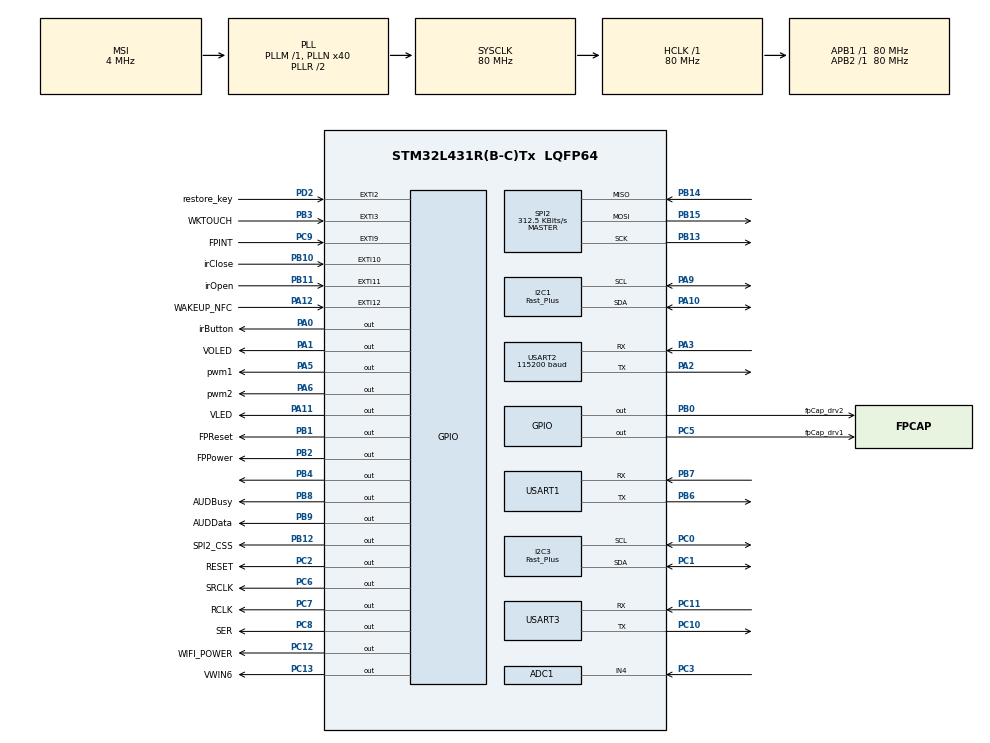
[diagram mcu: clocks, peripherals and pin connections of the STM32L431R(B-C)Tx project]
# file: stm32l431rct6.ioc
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ADC1.Channel-0\#ChannelRegularConversion=ADC_CHANNEL_4
ADC1.ClockPrescaler=ADC_CLOCK_ASYNC_DIV1
ADC1.ContinuousConvMode=DISABLE
ADC1.DMAContinuousRequests=DISABLE
ADC1.DataAlign=ADC_DATAALIGN_RIGHT
ADC1.DiscontinuousConvMode=DISABLE
ADC1.EOCSelection=ADC_EOC_SINGLE_CONV
ADC1.EnableAnalogWatchDog1=false
ADC1.EnableAnalogWatchDog2=false
ADC1.EnableAnalogWatchDog3=false
ADC1.EnableInjectedConversion=DISABLE
ADC1.EnableRegularConversion=ENABLE
ADC1.ExternalTrigConv=ADC_SOFTWARE_START
ADC1.ExternalTrigConvEdge=ADC_EXTERNALTRIGCONVEDGE_NONE
ADC1.LowPowerAutoWait=DISABLE
ADC1.NbrOfConversion=1
ADC1.NbrOfConversionFlag=1
ADC1.OffsetNumber-0\#ChannelRegularConversion=ADC_OFFSET_NONE
ADC1.Overrun=ADC_OVR_DATA_PRESERVED
ADC1.OversamplingMode=DISABLE
ADC1.Rank-0\#ChannelRegularConversion=1
ADC1.Resolution=ADC_RESOLUTION_12B
ADC1.SamplingTime-0\#ChannelRegularConversion=ADC_SAMPLETIME_2CYCLES_5
ADC1.ScanConvMode=ADC_SCAN_DISABLE
ADC1.master=1
I2C1.I2C_Speed_Mode=I2C_Fast_Plus
I2C1.Timing=0x00300F33
I2C3.I2C_Speed_Mode=I2C_Fast_Plus
I2C3.Timing=0x00300F33
IWDG.Prescaler=IWDG_PRESCALER_256
IWDG.Reload=1000
Mcu.Family=STM32L4
Mcu.Name=STM32L431R(B-C)Tx
Mcu.Package=LQFP64
NVIC.EXTI15_10_IRQn=true\:1\:0\:true\:false\:true\:true
NVIC.EXTI2_IRQn=true\:2\:0\:true\:false\:true\:true
NVIC.EXTI3_IRQn=true\:2\:0\:true\:false\:true\:true
NVIC.EXTI9_5_IRQn=true\:2\:0\:true\:false\:true\:true
NVIC.PriorityGroup=NVIC_PRIORITYGROUP_4
NVIC.TIM2_IRQn=true\:1\:0\:true\:false\:true\:true
NVIC.TIM6_DAC_IRQn=true\:0\:0\:true\:false\:true\:true
NVIC.TIM7_IRQn=true\:0\:0\:false\:false\:true\:true
NVIC.USART2_IRQn=true\:1\:0\:true\:false\:true\:true
NVIC.USART3_IRQn=true\:1\:0\:true\:false\:true\:true
PA0.GPIO_Label=irButton
PA0.GPIO_PuPd=GPIO_PULLDOWN
PA0.Signal=GPIO_Output
PA1.GPIO_Label=VOLED
PA1.GPIO_PuPd=GPIO_PULLDOWN
PA1.PinState=GPIO_PIN_RESET
PA1.Signal=GPIO_Output
PA10.Mode=I2C
PA10.Signal=I2C1_SDA
PA11.GPIO_Label=VLED
PA11.GPIO_PuPd=GPIO_PULLDOWN
PA11.Signal=GPIO_Output
PA12.GPIO_Label=WAKEUP_NFC
PA12.GPIO_PuPd=GPIO_PULLDOWN
PA12.Signal=GPXTI12
PA13\ (JTMS-SWDIO).Mode=Serial_Wire
PA13\ (JTMS-SWDIO).Signal=SYS_JTMS-SWDIO
PA14\ (JTCK-SWCLK).Mode=Serial_Wire
PA14\ (JTCK-SWCLK).Signal=SYS_JTCK-SWCLK
PA2.GPIO_PuPd=GPIO_PULLDOWN
PA2.Mode=Asynchronous
PA2.Signal=USART2_TX
PA3.GPIO_PuPd=GPIO_PULLDOWN
PA3.Mode=Asynchronous
PA3.Signal=USART2_RX
PA5.GPIO_Label=pwm1
PA5.GPIO_PuPd=GPIO_PULLDOWN
PA5.Signal=GPIO_Output
PA6.GPIO_Label=pwm2
PA6.GPIO_PuPd=GPIO_PULLDOWN
PA6.Signal=GPIO_Output
PA9.Mode=I2C
PA9.Signal=I2C1_SCL
PB0.GPIO_Label=fpCap_drv2
PB0.GPIO_PuPd=GPIO_PULLDOWN
PB0.Signal=GPIO_Output
PB1.GPIO_Label=FPReset
PB1.GPIO_PuPd=GPIO_PULLDOWN
PB1.Signal=GPIO_Output
PB10.GPIO_Label=irClose
PB10.GPIO_ModeDefaultEXTI=GPIO_MODE_IT_RISING
PB10.GPIO_PuPd=GPIO_PULLUP
PB10.Signal=GPXTI10
PB11.GPIO_Label=irOpen
PB11.GPIO_ModeDefaultEXTI=GPIO_MODE_IT_RISING
PB11.GPIO_PuPd=GPIO_PULLUP
PB11.Signal=GPXTI11
PB12.GPIO_Label=SPI2_CSS
PB12.PinState=GPIO_PIN_SET
PB12.Signal=GPIO_Output
PB13.Mode=Full_Duplex_Master
PB13.Signal=SPI2_SCK
PB14.Mode=Full_Duplex_Master
PB14.Signal=SPI2_MISO
PB15.Mode=Full_Duplex_Master
PB15.Signal=SPI2_MOSI
PB2.GPIO_Label=FPPower
PB2.GPIO_PuPd=GPIO_PULLDOWN
PB2.Signal=GPIO_Output
PB3\ (JTDO-TRACESWO).GPIO_Label=WKTOUCH
PB3\ (JTDO-TRACESWO).GPIO_ModeDefaultEXTI=GPIO_MODE_IT_FALLING
PB3\ (JTDO-TRACESWO).Signal=GPXTI3
PB4\ (NJTRST).Signal=GPIO_Output
PB6.GPIO_PuPd=GPIO_NOPULL
PB6.Mode=Asynchronous
PB6.Signal=USART1_TX
PB7.GPIO_PuPd=GPIO_PULLUP
PB7.Mode=Asynchronous
PB7.Signal=USART1_RX
PB8.GPIO_Label=AUDBusy
PB8.Signal=GPIO_Output
PB9.GPIO_Label=AUDData
PB9.Signal=GPIO_Output
PC0.Mode=I2C
PC0.Signal=I2C3_SCL
PC1.Mode=I2C
PC1.Signal=I2C3_SDA
PC10.GPIO_PuPd=GPIO_PULLDOWN
PC10.Mode=Asynchronous
PC10.Signal=USART3_TX
PC11.GPIO_PuPd=GPIO_PULLDOWN
PC11.Mode=Asynchronous
PC11.Signal=USART3_RX
PC12.GPIO_Label=WIFI_POWER
PC12.GPIO_PuPd=GPIO_PULLDOWN
PC12.GPIO_Speed=GPIO_SPEED_FREQ_LOW
PC12.PinState=GPIO_PIN_RESET
PC12.Signal=GPIO_Output
PC13.GPIO_Label=VWIN6
PC13.GPIO_PuPd=GPIO_PULLDOWN
PC13.Signal=GPIO_Output
PC14-OSC32_IN\ (PC14).Mode=LSE-External-Oscillator
PC14-OSC32_IN\ (PC14).Signal=RCC_OSC32_IN
PC15-OSC32_OUT\ (PC15).Mode=LSE-External-Oscillator
PC15-OSC32_OUT\ (PC15).Signal=RCC_OSC32_OUT
PC2.GPIO_Label=RESET
PC2.GPIO_Speed=GPIO_SPEED_FREQ_LOW
PC2.Signal=GPIO_Output
PC3.Signal=ADCx_IN4
PC5.GPIO_Label=fpCap_drv1
PC5.GPIO_PuPd=GPIO_PULLDOWN
PC5.Signal=GPIO_Output
PC6.GPIO_Label=SRCLK
PC6.Signal=GPIO_Output
PC7.GPIO_Label=RCLK
PC7.Signal=GPIO_Output
PC8.GPIO_Label=SER
PC8.Signal=GPIO_Output
PC9.GPIO_Label=FPINT
PC9.GPIO_PuPd=GPIO_PULLDOWN
PC9.Signal=GPXTI9
PD2.GPIO_Label=restore_key
PD2.GPIO_ModeDefaultEXTI=GPIO_MODE_IT_FALLING
PD2.GPIO_PuPd=GPIO_PULLUP
PD2.Signal=GPXTI2
ProjectManager.HeapSize=0x8000
ProjectManager.StackSize=0x2000
ProjectManager.TargetToolchain=MDK-ARM V5
RCC.ADCFreq_Value=32000000
RCC.AHBFreq_Value=80000000
RCC.APB1Freq_Value=80000000
RCC.APB1TimFreq_Value=80000000
RCC.APB2Freq_Value=80000000
RCC.APB2TimFreq_Value=80000000
RCC.CortexFreq_Value=80000000
RCC.HCLKFreq_Value=80000000
RCC.HSE_VALUE=8000000
RCC.HSI48_VALUE=48000000
RCC.HSI_VALUE=16000000
RCC.MSI_VALUE=4000000
RCC.PLLN=40
RCC.PLLSAI1N=16
RCC.RTCClockSelection=RCC_RTCCLKSOURCE_LSE
RCC.SYSCLKFreq_VALUE=80000000
RCC.SYSCLKSource=RCC_SYSCLKSOURCE_PLLCLK
RCC.VCOOutputFreq_Value=160000000
RTC.Date=15
RTC.Format=RTC_FORMAT_BIN
RTC.Hours=9
RTC.Month=RTC_MONTH_MARCH
RTC.WeekDay=RTC_WEEKDAY_FRIDAY
RTC.Year=19
SH.ADCx_IN4.0=ADC1_IN4,IN4-Single-Ended
SPI2.BaudRatePrescaler=SPI_BAUDRATEPRESCALER_256
SPI2.CLKPhase=SPI_PHASE_1EDGE
SPI2.CLKPolarity=SPI_POLARITY_LOW
SPI2.CRCCalculation=SPI_CRCCALCULATION_DISABLE
SPI2.CalculateBaudRate=312.5 KBits/s
SPI2.DataSize=SPI_DATASIZE_8BIT
SPI2.Direction=SPI_DIRECTION_2LINES
SPI2.Mode=SPI_MODE_MASTER
SPI2.VirtualType=VM_MASTER
TIM2.Period=30000-1
TIM2.Prescaler=8000-1
TIM6.Period=20000-1
TIM6.Prescaler=16000-1
TIM7.Period=20000-1
TIM7.Prescaler=16000-1
USART1.VirtualMode-Asynchronous=VM_ASYNC
USART2.BaudRate=115200
USART2.VirtualMode-Asynchronous=VM_ASYNC
USART3.VirtualMode-Asynchronous=VM_ASYNC
VP_IWDG_VS_IWDG.Mode=IWDG_Activate
VP_RTC_VS_RTC_Activate.Mode=RTC_Enabled
VP_RTC_VS_RTC_Calendar.Mode=RTC_Calendar
VP_TIM2_VS_ClockSourceINT.Mode=Internal
VP_TIM6_VS_ClockSourceINT.Mode=Enable_Timer
VP_TIM7_VS_ClockSourceINT.Mode=Enable_Timer
board=custom

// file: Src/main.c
/**
  ******************************************************************************
  * @file           : main.c
  * @brief          : Main program body
  ******************************************************************************
  ** This notice applies to any and all portions of this file
  * that are not between comment pairs USER CODE BEGIN and
  * USER CODE END. Other portions of this file, whether
  * inserted by the user or by software development tools
  * are owned by their respective copyright owners.
  *
  * COPYRIGHT(c) 2019 STMicroelectronics
  *
  * Redistribution and use in source and binary forms, with or without modification,
  * are permitted provided that the following conditions are met:
  *   1. Redistributions of source code must retain the above copyright notice,
  *      this list of conditions and the following disclaimer.
  *   2. Redistributions in binary form must reproduce the above copyright notice,
  *      this list of conditions and the following disclaimer in the documentation
  *      and/or other materials provided with the distribution.
  *   3. Neither the name of STMicroelectronics nor the names of its contributors
  *      may be used to endorse or promote products derived from this software
  *      without specific prior written permission.
  *
  * THIS SOFTWARE IS PROVIDED BY THE COPYRIGHT HOLDERS AND CONTRIBUTORS "AS IS"
  * AND ANY EXPRESS OR IMPLIED WARRANTIES, INCLUDING, BUT NOT LIMITED TO, THE
  * IMPLIED WARRANTIES OF MERCHANTABILITY AND FITNESS FOR A PARTICULAR PURPOSE ARE
  * DISCLAIMED. IN NO EVENT SHALL THE COPYRIGHT HOLDER OR CONTRIBUTORS BE LIABLE
  * FOR ANY DIRECT, INDIRECT, INCIDENTAL, SPECIAL, EXEMPLARY, OR CONSEQUENTIAL
  * DAMAGES (INCLUDING, BUT NOT LIMITED TO, PROCUREMENT OF SUBSTITUTE GOODS OR
  * SERVICES; LOSS OF USE, DATA, OR PROFITS; OR BUSINESS INTERRUPTION) HOWEVER
  * CAUSED AND ON ANY THEORY OF LIABILITY, WHETHER IN CONTRACT, STRICT LIABILITY,
  * OR TORT (INCLUDING NEGLIGENCE OR OTHERWISE) ARISING IN ANY WAY OUT OF THE USE
  * OF THIS SOFTWARE, EVEN IF ADVISED OF THE POSSIBILITY OF SUCH DAMAGE.
  *
  ******************************************************************************
  */
#include "main.h"
#include "stm32l4xx_hal.h"
#include "adc.h"
#include "i2c.h"
#include "iwdg.h"
#include "rtc.h"
#include "spi.h"
#include "tim.h"
#include "usart.h"
#include "gpio.h"

/* USER CODE BEGIN Includes */
#include "74hc595.h"
#include "ssd1305.h"
#include "win6170.h"
#include "delay.h"
#include "apt8l16.h"
#include "stmflash.h"
#include "stdlib.h"
#include "menu.h"
#include "global.h"
#include "flash.h"
#include "fpcst90x.h"
#include "wifi_8266.h"
#include "nfc.h"
#include "nfc9883.h"
#include "hsj08.h"

/* USER CODE END Includes */

/* USER CODE BEGIN PV */
/* Private variables ---------------------------------------------------------*/

/* USER CODE END PV */

void SystemClock_Config(void);

/* USER CODE BEGIN PFP */
/* Private function prototypes -----------------------------------------------*/

/* USER CODE END PFP */

/* USER CODE BEGIN 0 */
RTC_DateTypeDef sdatestructure;
RTC_TimeTypeDef stimestructure;

extern KEY_STATE get_cur_number;
uint8_t finger_press_flag=0x00;

uint8_t usart3_rx[1];
uint8_t usart3_rx_buf[USART3_REC_LEN];
uint16_t usart3_rx_len=0;

uint8_t usart2_rx[1];
uint8_t usart2_rx_buf[USART2_REC_LEN];
uint16_t usart2_rx_len=0;

wifi_upload_store_t wifi_upload[100];

uint32_t battery_value=0;
int8_t battery_class=100;
uint8_t try_count=0;
uint8_t facteryReset=0;
uint8_t prying_flag=0;
uint8_t pryingUpload_flag=0;
uint8_t alarmUploadFlag=0;
uint8_t stopModeFlag=0;
uint32_t hjsReverse=0;
uint8_t factoryFlag=0;

extern void SYSCLKConfig_STOP(uint16_t GPIO_Pin);

/* USER CODE END 0 */

int main(void)
{
  /* USER CODE BEGIN 1 */
	uint8_t permision;
	uint32_t delay_count;

  /* USER CODE END 1 */

  /* MCU Configuration----------------------------------------------------------*/

  /* Reset of all peripherals, Initializes the Flash interface and the Systick. */
  HAL_Init();

  /* Configure the system clock */
  SystemClock_Config();

  /* Initialize all configured peripherals */
  MX_GPIO_Init();
  MX_USART1_UART_Init();
  MX_I2C1_Init();
  MX_SPI2_Init();
  MX_USART3_UART_Init();
  MX_ADC1_Init();
  MX_RTC_Init();
  MX_USART2_UART_Init();
  MX_I2C3_Init();
  MX_TIM2_Init();
  MX_IWDG_Init();
  MX_TIM6_Init();
  MX_TIM7_Init();
  /* USER CODE BEGIN 2 */
	debug_printf("IWDG start \r\n");

	// 开启定时器6
	HAL_TIM_Base_Start_IT(&htim6);

	multi_mode_init();

	/* Enable Power Clock */
  __HAL_RCC_PWR_CLK_ENABLE();

  /* Ensure that MSI is wake-up system clock */
  __HAL_RCC_WAKEUPSTOP_CLK_CONFIG(RCC_STOP_WAKEUPCLOCK_MSI);

  /* USER CODE END 2 */

  /* Infinite loop */
  while (1)
  {

  /* USER CODE BEGIN 3 */

	debug_printf(" systerm ... \r\n");

	MAIN_LOOP:

		delay_count=50000;

		do{
				if(get_cur_number.key_prees||finger_press_flag||nfc_temp.irq_flag)
				{
					delay_count=50000;
					if(get_cur_number.key_prees&&get_cur_number.number==10)
						break;
				}
				if(keyboard_login(&permision)==LOCK_OK||finger_login(&permision)==LOCK_OK||card_login(&permision)==LOCK_OK)
				{
					// 防止其他方式开门
					HAL_NVIC_DisableIRQ(EXTI9_5_IRQn);
					HAL_NVIC_DisableIRQ(EXTI4_IRQn);
					//HAL_NVIC_DisableIRQ(EXTI15_10_IRQn);
					if(permision==ANDMI)
					{
						send_bytes(KEY10_11_ON);
						APT_KeyEnableSel(KDR0_CH_10_11_EN,KDR1_CH_10_11_EN);
						delay_count=8000;
						do{
							if(get_cur_number.key_prees==1)
							{
								delay_count=8000;
								get_cur_number.key_prees=0;
								if(get_cur_number.number==11)
								{
									stm_flash_read(ADDR_FLASH_PAGE_100,(uint8_t*)get_cur_info,CUR_INDEX_SIZE);
									// 第一个用户只能是管理员身份
									if(get_cur_info->cur_index_number<1)
									{
										user_add_menu_sub(ANDMI);
									}else{
										if(main_menu()==LOCK_OUTTIME)
										{
											break;
										}
									}
								}
								if(get_cur_number.number==10)
								{
									send_bytes(KEY_ALL_OFF);
									display_menu();
									APT_KeyEnableSel(KDR0_CH_ALL_DISA,KDR1_CH_ALL_DISA);
									break;
								}
							}
							sys_delay_us(1000);
						}while(--delay_count);
					}else{
						send_bytes(KEY_ALL_OFF);
						APT_KeyEnableSel(KDR0_CH_ALL_DISA,KDR1_CH_ALL_DISA);
						sys_delay_us(5000000);
						if(nfc_temp.irq_flag==1)
							nfc_temp.irq_flag=0;
						// 清除中断位
						__HAL_GPIO_EXTI_CLEAR_IT(GPIO_PIN_9);

						// 开启TOUCH 中断
						HAL_NVIC_EnableIRQ(EXTI9_5_IRQn);

						fp_power_on();
						fp_sleep();

						break;
					}
					if(nfc_temp.irq_flag==1)
						nfc_temp.irq_flag=0;

					// 清除中断位
					__HAL_GPIO_EXTI_CLEAR_IT(GPIO_PIN_9);

					// 开启TOUCH 中断
					HAL_NVIC_EnableIRQ(EXTI9_5_IRQn);

					fp_power_on();
					fp_sleep();
				}
				sys_delay_us(100);
		}while(delay_count--);

		if(prying_flag)
		{
			if(prying_flag&&pryingUpload_flag)
			{
				pryingUpload_flag=0;
				sys_delay_us(5000000);
				wifi_upload_alarm_info();
			}
			goto MAIN_LOOP;
		}
		sleep_mode();
  }
  /* USER CODE END 3 */

}

void SystemClock_Config(void)
{

  RCC_OscInitTypeDef RCC_OscInitStruct;
  RCC_ClkInitTypeDef RCC_ClkInitStruct;
  RCC_PeriphCLKInitTypeDef PeriphClkInit;

    /**Configure LSE Drive Capability
    */
  HAL_PWR_EnableBkUpAccess();

  __HAL_RCC_LSEDRIVE_CONFIG(RCC_LSEDRIVE_LOW);

    /**Initializes the CPU, AHB and APB busses clocks
    */
  RCC_OscInitStruct.OscillatorType = RCC_OSCILLATORTYPE_LSI|RCC_OSCILLATORTYPE_LSE
                              |RCC_OSCILLATORTYPE_MSI;
  RCC_OscInitStruct.LSEState = RCC_LSE_ON;
  RCC_OscInitStruct.LSIState = RCC_LSI_ON;
  RCC_OscInitStruct.MSIState = RCC_MSI_ON;
  RCC_OscInitStruct.MSICalibrationValue = 0;
  RCC_OscInitStruct.MSIClockRange = RCC_MSIRANGE_6;
  RCC_OscInitStruct.PLL.PLLState = RCC_PLL_ON;
  RCC_OscInitStruct.PLL.PLLSource = RCC_PLLSOURCE_MSI;
  RCC_OscInitStruct.PLL.PLLM = 1;
  RCC_OscInitStruct.PLL.PLLN = 40;
  RCC_OscInitStruct.PLL.PLLP = RCC_PLLP_DIV7;
  RCC_OscInitStruct.PLL.PLLQ = RCC_PLLQ_DIV2;
  RCC_OscInitStruct.PLL.PLLR = RCC_PLLR_DIV2;
  if (HAL_RCC_OscConfig(&RCC_OscInitStruct) != HAL_OK)
  {
    _Error_Handler(__FILE__, __LINE__);
  }

    /**Initializes the CPU, AHB and APB busses clocks
    */
  RCC_ClkInitStruct.ClockType = RCC_CLOCKTYPE_HCLK|RCC_CLOCKTYPE_SYSCLK
                              |RCC_CLOCKTYPE_PCLK1|RCC_CLOCKTYPE_PCLK2;
  RCC_ClkInitStruct.SYSCLKSource = RCC_SYSCLKSOURCE_PLLCLK;
  RCC_ClkInitStruct.AHBCLKDivider = RCC_SYSCLK_DIV1;
  RCC_ClkInitStruct.APB1CLKDivider = RCC_HCLK_DIV1;
  RCC_ClkInitStruct.APB2CLKDivider = RCC_HCLK_DIV1;

  if (HAL_RCC_ClockConfig(&RCC_ClkInitStruct, FLASH_LATENCY_4) != HAL_OK)
  {
    _Error_Handler(__FILE__, __LINE__);
  }

  PeriphClkInit.PeriphClockSelection = RCC_PERIPHCLK_RTC|RCC_PERIPHCLK_USART1
                              |RCC_PERIPHCLK_USART2|RCC_PERIPHCLK_USART3
                              |RCC_PERIPHCLK_I2C1|RCC_PERIPHCLK_I2C3
                              |RCC_PERIPHCLK_ADC;
  PeriphClkInit.Usart1ClockSelection = RCC_USART1CLKSOURCE_PCLK2;
  PeriphClkInit.Usart2ClockSelection = RCC_USART2CLKSOURCE_PCLK1;
  PeriphClkInit.Usart3ClockSelection = RCC_USART3CLKSOURCE_PCLK1;
  PeriphClkInit.I2c1ClockSelection = RCC_I2C1CLKSOURCE_PCLK1;
  PeriphClkInit.I2c3ClockSelection = RCC_I2C3CLKSOURCE_PCLK1;
  PeriphClkInit.AdcClockSelection = RCC_ADCCLKSOURCE_PLLSAI1;
  PeriphClkInit.RTCClockSelection = RCC_RTCCLKSOURCE_LSE;
  PeriphClkInit.PLLSAI1.PLLSAI1Source = RCC_PLLSOURCE_MSI;
  PeriphClkInit.PLLSAI1.PLLSAI1M = 1;
  PeriphClkInit.PLLSAI1.PLLSAI1N = 16;
  PeriphClkInit.PLLSAI1.PLLSAI1P = RCC_PLLP_DIV7;
  PeriphClkInit.PLLSAI1.PLLSAI1Q = RCC_PLLQ_DIV2;
  PeriphClkInit.PLLSAI1.PLLSAI1R = RCC_PLLR_DIV2;
  PeriphClkInit.PLLSAI1.PLLSAI1ClockOut = RCC_PLLSAI1_ADC1CLK;
  if (HAL_RCCEx_PeriphCLKConfig(&PeriphClkInit) != HAL_OK)
  {
    _Error_Handler(__FILE__, __LINE__);
  }

    /**Configure the main internal regulator output voltage
    */
  if (HAL_PWREx_ControlVoltageScaling(PWR_REGULATOR_VOLTAGE_SCALE1) != HAL_OK)
  {
    _Error_Handler(__FILE__, __LINE__);
  }

    /**Configure the Systick interrupt time
    */
  HAL_SYSTICK_Config(HAL_RCC_GetHCLKFreq()/1000);

    /**Configure the Systick
    */
  HAL_SYSTICK_CLKSourceConfig(SYSTICK_CLKSOURCE_HCLK);

    /**Enable MSI Auto calibration
    */
  HAL_RCCEx_EnableMSIPLLMode();

  /* SysTick_IRQn interrupt configuration */
  HAL_NVIC_SetPriority(SysTick_IRQn, 0, 0);
}

/* USER CODE BEGIN 4 */
void HAL_GPIO_EXTI_Callback(uint16_t GPIO_Pin)
{
	uint8_t delay_count=5;
	//uint8_t pryStatus;

	if(stopModeFlag)
	{
		stopModeFlag=0;
		SYSCLKConfig_STOP(GPIO_Pin);
	}
	if(GPIO_Pin==GPIO_PIN_2)
	{
		debug_printf(" ################  RESTORE interrupt... \r\n");
		do{
			sys_delay_us(1000000);
			delay_count--;
		}while(HAL_GPIO_ReadPin(GPIOD,restore_key_Pin)==0&&delay_count>0);
		if(delay_count==0)
		{
			factory_reset();
			debug_printf(" ################  restore factory... \r\n");
		}
	}
	else if(GPIO_Pin == GPIO_PIN_3)
  {
		//debug_printf(" ################  APT interrupt... \r\n");
		APT_ScanTouchKey();
  }
	else if(GPIO_Pin == GPIO_PIN_4)
	{
		debug_printf(" ################## prying the lock... \r\n");
		/*
		pryStatus =HAL_GPIO_ReadPin(GPIOA,GPIO_PIN_4);
		debug_printf(" ################## pryStatus:%d \r\n",pryStatus);

		if(pryStatus)
		{
				prying_flag=0;
				set_win6170(0XFE);
				sys_delay_us(2000);
				set_win6170(get_cur_info->cur_vol_size);
				sys_delay_us(2000);
		}else{
				if(get_cur_info->cur_index_number>=1)
				{
					wifi_power_on();
					set_win6170(0XEF);
					sys_delay_us(2000);
					set_win6170(3);
					sys_delay_us(2000);
					set_win6170(0XF2);
					sys_delay_us(2000);
					alarmUploadFlag=1;
					prying_flag=1;
					pryingUpload_flag=1;
				}
		}*/
	}
	else if(GPIO_Pin == GPIO_PIN_9)
	{
		debug_printf("detect finger is press \r\n");

		finger_press_flag=1;
		fp_power_on();

		set_win6170(5);
		if(facteryReset)
			return;
	}
	else if(GPIO_Pin == GPIO_PIN_10||GPIO_Pin == GPIO_PIN_11)
	{
		debug_printf("%d \r\n",HAL_GPIO_ReadPin(GPIOB,GPIO_PIN_10));
		debug_printf(" exti... \r\n");
	}
	else if(GPIO_Pin == GPIO_PIN_12)
	{
		if(facteryReset)
			return;
		set_win6170(get_cur_info->cur_vol_size);
		debug_printf(" ################## detect NFC is coming \r\n");
		detect_card();
	}
}

void HAL_TIM_PeriodElapsedCallback(TIM_HandleTypeDef *htim)
{
	if(htim->Instance==htim2.Instance)
	{
		//debug_printf(" time2 arrived.... \r\n");
		LOCK();
		HAL_TIM_Base_Stop_IT(&htim2);
	}
	else if(htim->Instance==htim6.Instance)
	{
		//debug_printf(" update  hiwdg ...\r\n");
		HAL_IWDG_Refresh(&hiwdg);
	}
	else if(htim->Instance==htim7.Instance)
	{
		debug_printf(" hsj_drv test... \r\n");

		hjsReverse++;

		if(factoryFlag ==0)
			display_factory_hjs_number(hjsReverse);

		if(hjsReverse%2)
			LOCK();
		else
			UNLOCK();
	}
}

void HAL_UART_RxCpltCallback(UART_HandleTypeDef *huart)
{
	if(huart==&huart2)
	{
		if(usart2_rx_len<USART2_REC_LEN)
		{
			usart2_rx_buf[usart2_rx_len++]=usart2_rx[0];
		}else{
			usart2_rx_len=0;
		}
	}
	else if(huart==&huart3)
	{
		if(usart3_rx_len<USART3_REC_LEN)
		{
			usart3_rx_buf[usart3_rx_len++]=usart3_rx[0];
		}else{
			usart3_rx_len=0;
		}
	}
}

/* USER CODE END 4 */

void _Error_Handler(char *file, int line)
{
  /* USER CODE BEGIN Error_Handler_Debug */
  /* User can add his own implementation to report the HAL error return state */
  while(0)
  {
  }
  /* USER CODE END Error_Handler_Debug */
}

/************************ (C) COPYRIGHT STMicroelectronics *****END OF FILE****/
